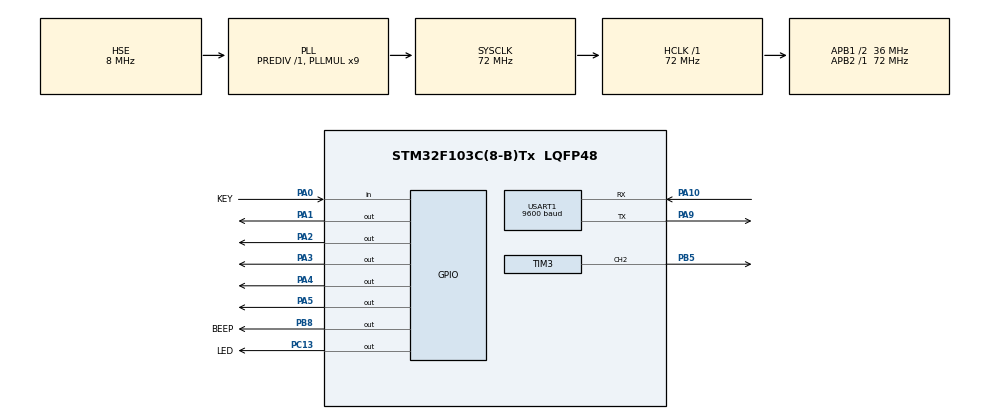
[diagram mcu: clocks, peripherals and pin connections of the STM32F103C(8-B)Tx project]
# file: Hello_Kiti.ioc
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Mcu.Family=STM32F1
Mcu.Name=STM32F103C(8-B)Tx
Mcu.Package=LQFP48
NVIC.PriorityGroup=NVIC_PRIORITYGROUP_4
NVIC.TIM3_IRQn=true\:0\:0\:false\:false\:true\:true\:true
NVIC.USART1_IRQn=true\:0\:0\:false\:false\:true\:true\:true
PA0-WKUP.GPIO_Label=KEY
PA0-WKUP.GPIO_PuPd=GPIO_PULLUP
PA0-WKUP.Signal=GPIO_Input
PA1.GPIO_Speed=GPIO_SPEED_FREQ_LOW
PA1.PinState=GPIO_PIN_SET
PA1.Signal=GPIO_Output
PA10.Mode=Asynchronous
PA10.Signal=USART1_RX
PA13.Mode=Trace_Asynchronous_SW
PA13.Signal=SYS_JTMS-SWDIO
PA14.Mode=Trace_Asynchronous_SW
PA14.Signal=SYS_JTCK-SWCLK
PA2.GPIO_Speed=GPIO_SPEED_FREQ_LOW
PA2.PinState=GPIO_PIN_SET
PA2.Signal=GPIO_Output
PA3.GPIO_Speed=GPIO_SPEED_FREQ_LOW
PA3.PinState=GPIO_PIN_SET
PA3.Signal=GPIO_Output
PA4.PinState=GPIO_PIN_SET
PA4.Signal=GPIO_Output
PA5.PinState=GPIO_PIN_SET
PA5.Signal=GPIO_Output
PA9.Mode=Asynchronous
PA9.Signal=USART1_TX
PB3.Mode=Trace_Asynchronous_SW
PB3.Signal=SYS_JTDO-TRACESWO
PB5.Signal=S_TIM3_CH2
PB8.GPIO_Label=BEEP
PB8.Signal=GPIO_Output
PC13-TAMPER-RTC.GPIO_Label=LED
PC13-TAMPER-RTC.PinState=GPIO_PIN_SET
PC13-TAMPER-RTC.Signal=GPIO_Output
PD0-OSC_IN.Mode=HSE-External-Oscillator
PD0-OSC_IN.Signal=RCC_OSC_IN
PD1-OSC_OUT.Mode=HSE-External-Oscillator
PD1-OSC_OUT.Signal=RCC_OSC_OUT
ProjectManager.HeapSize=0x200
ProjectManager.StackSize=0x400
ProjectManager.TargetToolchain=MDK-ARM V5.27
RCC.AHBFreq_Value=72000000
RCC.APB1CLKDivider=RCC_HCLK_DIV2
RCC.APB1Freq_Value=36000000
RCC.APB1TimFreq_Value=72000000
RCC.APB2Freq_Value=72000000
RCC.APB2TimFreq_Value=72000000
RCC.HCLKFreq_Value=72000000
RCC.PLLMUL=RCC_PLL_MUL9
RCC.PLLSourceVirtual=RCC_PLLSOURCE_HSE
RCC.SYSCLKFreq_VALUE=72000000
RCC.SYSCLKSource=RCC_SYSCLKSOURCE_PLLCLK
RCC.USBFreq_Value=72000000
SH.S_TIM3_CH2.0=TIM3_CH2,PWM Generation2 CH2
TIM3.AutoReloadPreload=TIM_AUTORELOAD_PRELOAD_ENABLE
TIM3.Channel-PWM\ Generation2\ CH2=TIM_CHANNEL_2
TIM3.OCFastMode_PWM-PWM\ Generation2\ CH2=TIM_OCFAST_DISABLE
TIM3.OCPolarity_2=TIM_OCPOLARITY_HIGH
TIM3.Period=200-1
TIM3.Prescaler=7200-1
USART1.BaudRate=9600
USART1.VirtualMode=VM_ASYNC
VP_TIM3_VS_ClockSourceINT.Mode=Internal
board=custom

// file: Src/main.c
/* USER CODE BEGIN Header */
/**
  ******************************************************************************
  * @file           : main.c
  * @brief          : Main program body
  ******************************************************************************
  * @attention
  *
  * <h2><center>&copy; Copyright (c) 2021 STMicroelectronics.
  * All rights reserved.</center></h2>
  *
  * This software component is licensed by ST under BSD 3-Clause license,
  * the "License"; You may not use this file except in compliance with the
  * License. You may obtain a copy of the License at:
  *                        opensource.org/licenses/BSD-3-Clause
  *
  ******************************************************************************
  */
/* USER CODE END Header */

#include "main.h"
#include "tim.h"
#include "usart.h"
#include "gpio.h"

/* USER CODE BEGIN Includes */
#include "mcu_api.h"
#include "wifi.h"
/* USER CODE END Includes */

void SystemClock_Config(void);

/* USER CODE BEGIN 0 */
	uint8_t s=0;	//定义一个开关变量，初始化为关
	uint8_t quick_feed = 0;
	uint8_t manual_feed = 0;
	enum feed_state f=standby;
	uint8_t light = 0;
/* USER CODE END 0 */

int main(void)
{
  /* USER CODE BEGIN 1 */

//	static uint16_t pwm=0;
//	static uint16_t flg=1;

  /* USER CODE END 1 */

  /* MCU Configuration--------------------------------------------------------*/

  /* Reset of all peripherals, Initializes the Flash interface and the Systick. */
  HAL_Init();

  /* Configure the system clock */
  SystemClock_Config();

  /* Initialize all configured peripherals */
  MX_GPIO_Init();
  MX_TIM3_Init();
  MX_USART1_UART_Init();
  /* USER CODE BEGIN 2 */
	__HAL_UART_ENABLE_IT(&huart1, UART_IT_RXNE);	//使能接收中断
	HAL_TIM_Base_Start_IT(&htim3);		//开定时器中断3
	HAL_TIM_PWM_Start(&htim3, TIM_CHANNEL_2);		//打开PWM通道
	wifi_protocol_init();
  /* USER CODE END 2 */

  /* Infinite loop */
  while (1)
  {

    /* USER CODE BEGIN 3 */

		wifi_uart_service();		//涂鸦模组的wifi串口函数

		if(KEY_State==0)			//按键按下进入配网模式
		{
			mcu_set_wifi_mode(0);
			BEEP_ON;
			HAL_Delay(300);
			BEEP_OFF;
		}

		get_wifi_status(mcu_get_wifi_work_state());	//得到wifi状态

		}
  /* USER CODE END 3 */
}

void SystemClock_Config(void)
{
  RCC_OscInitTypeDef RCC_OscInitStruct = {0};
  RCC_ClkInitTypeDef RCC_ClkInitStruct = {0};

  /** Initializes the CPU, AHB and APB busses clocks
  */
  RCC_OscInitStruct.OscillatorType = RCC_OSCILLATORTYPE_HSE;
  RCC_OscInitStruct.HSEState = RCC_HSE_ON;
  RCC_OscInitStruct.HSEPredivValue = RCC_HSE_PREDIV_DIV1;
  RCC_OscInitStruct.HSIState = RCC_HSI_ON;
  RCC_OscInitStruct.PLL.PLLState = RCC_PLL_ON;
  RCC_OscInitStruct.PLL.PLLSource = RCC_PLLSOURCE_HSE;
  RCC_OscInitStruct.PLL.PLLMUL = RCC_PLL_MUL9;
  if (HAL_RCC_OscConfig(&RCC_OscInitStruct) != HAL_OK)
  {
    Error_Handler();
  }
  /** Initializes the CPU, AHB and APB busses clocks
  */
  RCC_ClkInitStruct.ClockType = RCC_CLOCKTYPE_HCLK|RCC_CLOCKTYPE_SYSCLK
                              |RCC_CLOCKTYPE_PCLK1|RCC_CLOCKTYPE_PCLK2;
  RCC_ClkInitStruct.SYSCLKSource = RCC_SYSCLKSOURCE_PLLCLK;
  RCC_ClkInitStruct.AHBCLKDivider = RCC_SYSCLK_DIV1;
  RCC_ClkInitStruct.APB1CLKDivider = RCC_HCLK_DIV2;
  RCC_ClkInitStruct.APB2CLKDivider = RCC_HCLK_DIV1;

  if (HAL_RCC_ClockConfig(&RCC_ClkInitStruct, FLASH_LATENCY_2) != HAL_OK)
  {
    Error_Handler();
  }
}

void Error_Handler(void)
{
}

/************************ (C) COPYRIGHT STMicroelectronics *****END OF FILE****/
